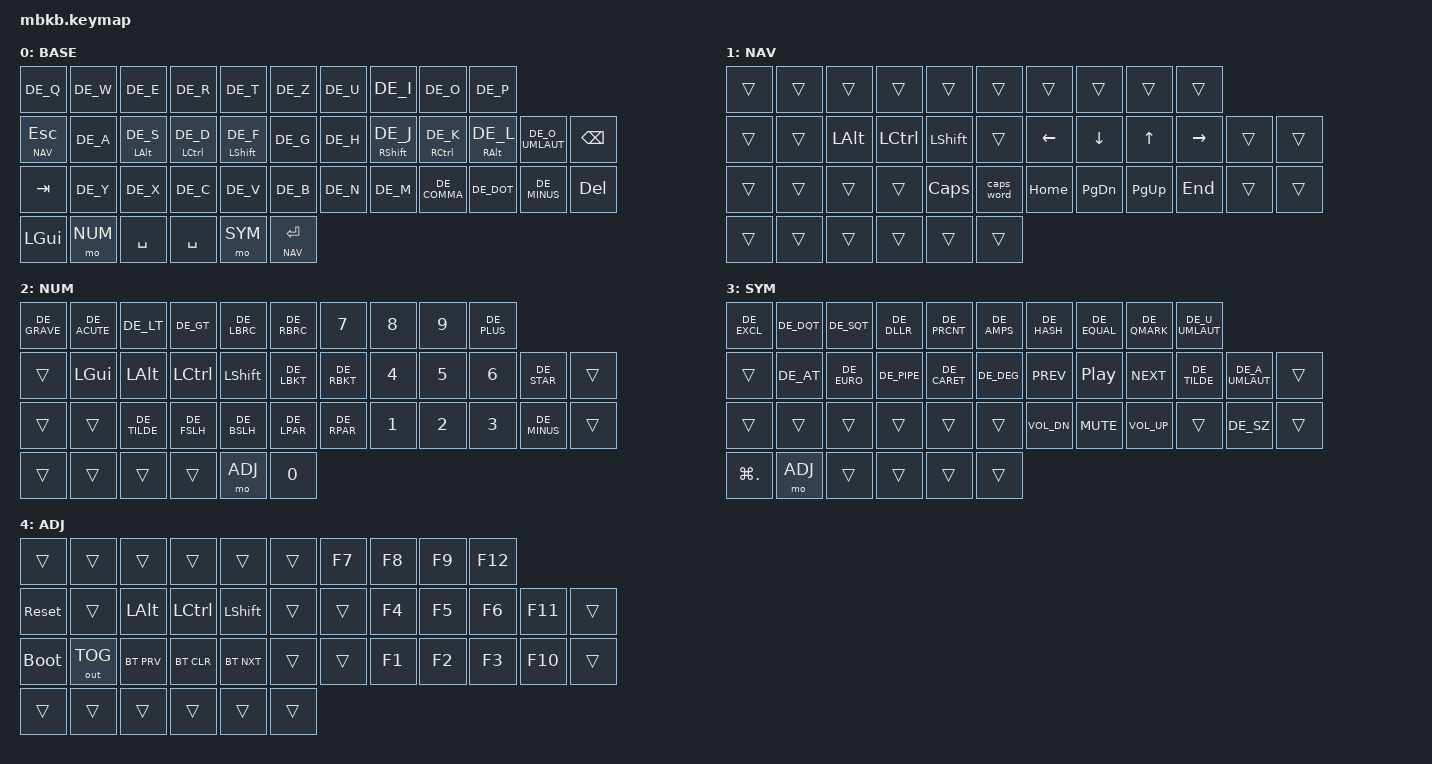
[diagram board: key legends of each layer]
// ------------------------------------------------------------------- //
//                                                                     // 
//   ▄▀▀▀▄         ▄▀▀▀▄   ▄▀▀▀▄         ▄▀▀▀▄   ▄▀▀▀▄         ▄▀▀▀▄   //
//   █    ▀▀▀▀▀▀▀▀▀    █   █    ▀▀▀▀▀▀▀▀▀    █   █    ▀▀▀▀▀▀▀▀▀    █   //
//     ▄▄▄         ▄▄▄      ▄███▄       ▄███▄                          //
//    █  ▀█ ▄▄▄▄▄ █▀  █     █ ▀ █ ▄▄▄▄▄ █ ▀ █     █   █ ▄▄▄▄▄ █   █    //
//     ▀▀▀   ▀█▀   ▀▀▀       ▀▀▀   ▀█▀   ▀▀▀       ▀▀▀   ▀█▀   ▀▀▀     //
//          ▀▄█▄▀                 ▄▄█▄▄                  ▄█▄           //
//                                                                     //
// ------------------------------------------------------------------- //

#include <behaviors.dtsi>
#include <dt-bindings/zmk/keys.h>
#include <dt-bindings/zmk/bt.h>
#include <dt-bindings/zmk/outputs.h>        
#include <locale/keys_de.h>

#define BASE 0
#define NAV  1
#define NUM  2
#define SYM  3
#define ADJ  4

&mt {
    quick-tap-ms = <100>;
    global-quick-tap;
    flavor = "tap-preferred";
    tapping-term-ms = <170>;
};

&caps_word {
    continue-list = <UNDERSCORE MINUS>;
};

/ {
    keymap {
        compatible = "zmk,keymap";
        base_layer {
            label= "BASE";
            //             ┏━━━━━━━━━━━┳━━━━━━━━━━━┳━━━━━━━━━━━┳━━━━━━━━━━━┳━━━━━━━━━━━┓   ┏━━━━━━━━━━━┳━━━━━━━━━━━┳━━━━━━━━━━━┳━━━━━━━━━━━┳━━━━━━━━━━━┓
            //             ┃     Q     ┃     W     ┃     E     ┃     R     ┃     T     ┃   ┃     Z     ┃     U     ┃     I     ┃     O     ┃     P     ┃
            // ┏━━━━━━━━━━━╋━━━━━━━━━━━╋━━━━━━━━━━━╋━━━━━━━━━━━╋━━━━━━━━━━━╋━━━━━━━━━━━┫   ┣━━━━━━━━━━━╋━━━━━━━━━━━╋━━━━━━━━━━━╋━━━━━━━━━━━╋━━━━━━━━━━━╋━━━━━━━━━━━┓
            // ┃    ESC    ┃     A     ┃     S     ┃     D     ┃     F     ┃     G     ┃   ┃     H     ┃     J     ┃     K     ┃     L     ┃     Ö     ┃   BSPC    ┃ 
            // ┣━━━━━━━━━━━╋━━━━━━━━━━━╋━━━━━━━━━━━╋━━━━━━━━━━━╋━━━━━━━━━━━╋━━━━━━━━━━━┫   ┣━━━━━━━━━━━╋━━━━━━━━━━━╋━━━━━━━━━━━╋━━━━━━━━━━━╋━━━━━━━━━━━╋━━━━━━━━━━━┫
            // ┃    TAB    ┃     Y     ┃     X     ┃     C     ┃     V     ┃     B     ┃   ┃     N     ┃     M     ┃     ,     ┃     .     ┃     -     ┃    DEL    ┃
            // ┗━━━━━━━━━━━┻━━━━━━━━━━━┻━━━━━━━━━━━╋━━━━━━━━━━━╋━━━━━━━━━━━╋━━━━━━━━━━━┫   ┣━━━━━━━━━━━╋━━━━━━━━━━━╋━━━━━━━━━━━╋━━━━━━━━━━━┻━━━━━━━━━━━┻━━━━━━━━━━━┛
            //                                     ┃   SUPER   ┃    NUM    ┃   SPACE   ┃   ┃   SPACE   ┃    SYM    ┃   ENTER   ┃
            //                                     ┗━━━━━━━━━━━┻━━━━━━━━━━━┻━━━━━━━━━━━┛   ┗━━━━━━━━━━━┻━━━━━━━━━━━┻━━━━━━━━━━━┛
            bindings = <
                &kp DE_Q     &kp DE_W  &kp DE_E       &kp DE_R        &kp DE_T         &kp DE_Z   &kp DE_U  &kp DE_I         &kp DE_O        &kp DE_P
                &lt NAV ESC  &kp DE_A  &mt LALT DE_S  &mt LCTRL DE_D  &mt LSHIFT DE_F  &kp DE_G   &kp DE_H  &mt RSHIFT DE_J  &mt RCTRL DE_K  &mt RALT DE_L  &kp DE_O_UMLAUT  &kp BSPC
                &kp TAB      &kp DE_Y  &kp DE_X       &kp DE_C        &kp DE_V         &kp DE_B   &kp DE_N  &kp DE_M         &kp DE_COMMA    &kp DE_DOT     &kp DE_MINUS  &kp DEL
                &kp LGUI     &mo NUM   &kp SPACE      &kp SPACE       &mo SYM          &lt NAV ENTER
            >;
        };

        nav_layer {
            label= "NAV";
            bindings = <
                &trans  &trans  &trans    &trans     &trans      &trans      &trans    &trans     &trans     &trans
                &trans  &trans  &kp LALT  &kp LCTRL  &kp LSHIFT  &trans      &kp LEFT  &kp DOWN   &kp UP     &kp RIGHT  &trans  &trans  
                &trans  &trans  &trans    &trans     &kp CAPS    &caps_word  &kp HOME  &kp PG_DN  &kp PG_UP  &kp END    &trans  &trans  
                &trans  &trans  &trans    &trans     &trans      &trans
            >;
        };

        num_layer {
            label= "NUM";
            //             ┏━━━━━━━━━━━┳━━━━━━━━━━━┳━━━━━━━━━━━┳━━━━━━━━━━━┳━━━━━━━━━━━┓   ┏━━━━━━━━━━━┳━━━━━━━━━━━┳━━━━━━━━━━━┳━━━━━━━━━━━┳━━━━━━━━━━━┓
            //             ┃     ´     ┃     `     ┃     <     ┃     >     ┃     {     ┃   ┃     }     ┃     7     ┃     8     ┃     9     ┃     +     ┃
            // ┏━━━━━━━━━━━╋━━━━━━━━━━━╋━━━━━━━━━━━╋━━━━━━━━━━━╋━━━━━━━━━━━╋━━━━━━━━━━━┫   ┣━━━━━━━━━━━╋━━━━━━━━━━━╋━━━━━━━━━━━╋━━━━━━━━━━━╋━━━━━━━━━━━╋━━━━━━━━━━━┓
            // ┃    ESC    ┃   SUPER   ┃    ALT    ┃   CTRL    ┃   SHIFT   ┃     [     ┃   ┃     ]     ┃     4     ┃     5     ┃     6     ┃     *     ┃   BSPC    ┃
            // ┣━━━━━━━━━━━╋━━━━━━━━━━━╋━━━━━━━━━━━╋━━━━━━━━━━━╋━━━━━━━━━━━╋━━━━━━━━━━━┫   ┣━━━━━━━━━━━╋━━━━━━━━━━━╋━━━━━━━━━━━╋━━━━━━━━━━━╋━━━━━━━━━━━╋━━━━━━━━━━━┫
            // ┃    TAB    ┃           ┃     ~     ┃     /     ┃     \     ┃     (     ┃   ┃     )     ┃     1     ┃     2     ┃     3     ┃     -     ┃   ENTER   ┃
            // ┗━━━━━━━━━━━┻━━━━━━━━━━━┻━━━━━━━━━━━╋━━━━━━━━━━━╋━━━━━━━━━━━╋━━━━━━━━━━━┫   ┣━━━━━━━━━━━╋━━━━━━━━━━━╋━━━━━━━━━━━╋━━━━━━━━━━━┻━━━━━━━━━━━┻━━━━━━━━━━━┛
            //                                     ┃   SUPER   ┃███████████┃   SPACE   ┃   ┃   SPACE   ┃    ADJ    ┃     0     ┃
            //                                     ┗━━━━━━━━━━━┻━━━━━━━━━━━┻━━━━━━━━━━━┛   ┗━━━━━━━━━━━┻━━━━━━━━━━━┻━━━━━━━━━━━┛
            bindings = <
                &kp DE_GRAVE  &kp DE_ACUTE  &kp DE_LT     &kp DE_GT    &kp DE_LBRC  &kp DE_RBRC  &kp N7       &kp N8  &kp N9  &kp DE_PLUS
                &trans        &kp LGUI      &kp LALT      &kp LCTRL    &kp LSHIFT   &kp DE_LBKT  &kp DE_RBKT  &kp N4  &kp N5  &kp N6  &kp DE_STAR &trans
                &trans        &trans        &kp DE_TILDE  &kp DE_FSLH  &kp DE_BSLH  &kp DE_LPAR  &kp DE_RPAR  &kp N1  &kp N2  &kp N3  &kp DE_MINUS &trans      
                &trans        &trans        &trans        &trans       &mo ADJ      &kp N0 
            >;
        };

        sym_layer {
            label= "SYM";
            //             ┏━━━━━━━━━━━┳━━━━━━━━━━━┳━━━━━━━━━━━┳━━━━━━━━━━━┳━━━━━━━━━━━┓   ┏━━━━━━━━━━━┳━━━━━━━━━━━┳━━━━━━━━━━━┳━━━━━━━━━━━┳━━━━━━━━━━━┓
            //             ┃     !     ┃     "     ┃     '     ┃     $     ┃     %     ┃   ┃     &     ┃     #     ┃     =     ┃     ?     ┃     Ü     ┃
            // ┏━━━━━━━━━━━╋━━━━━━━━━━━╋━━━━━━━━━━━╋━━━━━━━━━━━╋━━━━━━━━━━━╋━━━━━━━━━━━┫   ┣━━━━━━━━━━━╋━━━━━━━━━━━╋━━━━━━━━━━━╋━━━━━━━━━━━╋━━━━━━━━━━━╋━━━━━━━━━━━┓
            // ┃    ESC    ┃     @     ┃     €     ┃     |     ┃     ^     ┃     °     ┃   ┃   PREV    ┃   PAUSE   ┃   NEXT    ┃     ~     ┃     Ä     ┃   BSPC    ┃
            // ┣━━━━━━━━━━━╋━━━━━━━━━━━╋━━━━━━━━━━━╋━━━━━━━━━━━╋━━━━━━━━━━━╋━━━━━━━━━━━┫   ┣━━━━━━━━━━━╋━━━━━━━━━━━╋━━━━━━━━━━━╋━━━━━━━━━━━╋━━━━━━━━━━━╋━━━━━━━━━━━┫
            // ┃    TAB    ┃  EMAIL1   ┃  EMAIL2   ┃           ┃           ┃           ┃   ┃   VOL-    ┃   MUTE    ┃   VOL+    ┃           ┃     ß     ┃    DEL    ┃
            // ┗━━━━━━━━━━━┻━━━━━━━━━━━┻━━━━━━━━━━━╋━━━━━━━━━━━╋━━━━━━━━━━━╋━━━━━━━━━━━┫   ┣━━━━━━━━━━━╋━━━━━━━━━━━╋━━━━━━━━━━━╋━━━━━━━━━━━┻━━━━━━━━━━━┻━━━━━━━━━━━┛
            //                                     ┃    GIF    ┃    ADJ    ┃   SPACE   ┃   ┃   SPACE   ┃███████████┃   ENTER   ┃
            //                                     ┗━━━━━━━━━━━┻━━━━━━━━━━━┻━━━━━━━━━━━┛   ┗━━━━━━━━━━━┻━━━━━━━━━━━┻━━━━━━━━━━━┛
            bindings = <
                &kp DE_EXCL  &kp DE_DQT  &kp DE_SQT   &kp DE_DLLR  &kp DE_PRCNT  &kp DE_AMPS   &kp DE_HASH   &kp DE_EQUAL  &kp DE_QMARK  &kp DE_U_UMLAUT
                &trans       &kp DE_AT   &kp DE_EURO  &kp DE_PIPE  &kp DE_CARET  &kp DE_DEG    &kp C_PREV    &kp C_PP      &kp C_NEXT    &kp DE_TILDE     &kp DE_A_UMLAUT  &trans
                &trans       &trans      &trans    &trans    &trans     &trans   &kp C_VOL_DN  &kp C_MUTE    &kp C_VOL_UP  &trans        &kp DE_SZ        &trans         
                &kp LG(DOT)  &mo ADJ     &trans    &trans    &trans     &trans
            >;
        };

        adjust_layer {
            label= "ADJ";
            //             ┏━━━━━━━━━━━┳━━━━━━━━━━━┳━━━━━━━━━━━┳━━━━━━━━━━━┳━━━━━━━━━━━┓   ┏━━━━━━━━━━━┳━━━━━━━━━━━┳━━━━━━━━━━━┳━━━━━━━━━━━┳━━━━━━━━━━━┓
            //             ┃           ┃           ┃           ┃           ┃           ┃   ┃           ┃    F7     ┃    F8     ┃    F9     ┃    F12    ┃
            // ┏━━━━━━━━━━━╋━━━━━━━━━━━╋━━━━━━━━━━━╋━━━━━━━━━━━╋━━━━━━━━━━━╋━━━━━━━━━━━┫   ┣━━━━━━━━━━━╋━━━━━━━━━━━╋━━━━━━━━━━━╋━━━━━━━━━━━╋━━━━━━━━━━━╋━━━━━━━━━━━┓
            // ┃   RESET   ┃           ┃    ALT    ┃    CTRL   ┃   SHIFT   ┃           ┃   ┃           ┃    F4     ┃    F5     ┃    F6     ┃    F11    ┃   BSPC    ┃
            // ┣━━━━━━━━━━━╋━━━━━━━━━━━╋━━━━━━━━━━━╋━━━━━━━━━━━╋━━━━━━━━━━━╋━━━━━━━━━━━┫   ┣━━━━━━━━━━━╋━━━━━━━━━━━╋━━━━━━━━━━━╋━━━━━━━━━━━╋━━━━━━━━━━━╋━━━━━━━━━━━┫
            // ┃  BOOTLOAD ┃  OUT TOG  ┃  BT PREV  ┃  BT CLEAR ┃  BT NEXT  ┃           ┃   ┃           ┃    F1     ┃    F2     ┃    F3     ┃    F10    ┃    DEL    ┃
            // ┗━━━━━━━━━━━┻━━━━━━━━━━━┻━━━━━━━━━━━╋━━━━━━━━━━━╋━━━━━━━━━━━╋━━━━━━━━━━━┫   ┣━━━━━━━━━━━╋━━━━━━━━━━━╋━━━━━━━━━━━╋━━━━━━━━━━━┻━━━━━━━━━━━┻━━━━━━━━━━━┛
            //                                     ┃           ┃███████████┃           ┃   ┃           ┃███████████┃           ┃
            //                                     ┗━━━━━━━━━━━┻━━━━━━━━━━━┻━━━━━━━━━━━┛   ┗━━━━━━━━━━━┻━━━━━━━━━━━┻━━━━━━━━━━━┛
            bindings = <
                &trans      &trans        &trans      &trans      &trans      &trans  &kp F7  &kp F8  &kp F9  &kp F12
                &sys_reset  &trans        &kp LALT    &kp LCTRL   &kp LSHIFT  &trans  &trans  &kp F4  &kp F5  &kp F6  &kp F11  &trans
                &bootloader &out OUT_TOG  &bt BT_PRV  &bt BT_CLR  &bt BT_NXT  &trans  &trans  &kp F1  &kp F2  &kp F3  &kp F10  &trans         
                &trans      &trans        &trans      &trans      &trans      &trans      
            >;
        };
    };
};
